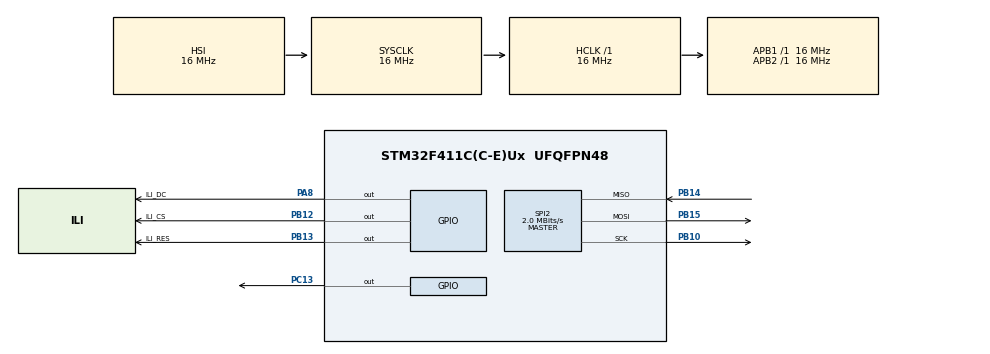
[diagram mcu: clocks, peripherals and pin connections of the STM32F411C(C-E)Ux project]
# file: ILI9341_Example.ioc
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Mcu.Family=STM32F4
Mcu.Name=STM32F411C(C-E)Ux
Mcu.Package=UFQFPN48
NVIC.PriorityGroup=NVIC_PRIORITYGROUP_4
PA13.Mode=Serial_Wire
PA13.Signal=SYS_JTMS-SWDIO
PA14.Mode=Serial_Wire
PA14.Signal=SYS_JTCK-SWCLK
PA8.GPIO_Label=ILI_DC
PA8.Signal=GPIO_Output
PB10.Mode=Full_Duplex_Master
PB10.Signal=SPI2_SCK
PB12.GPIO_Label=ILI_CS
PB12.PinState=GPIO_PIN_SET
PB12.Signal=GPIO_Output
PB13.GPIO_Label=ILI_RES
PB13.PinState=GPIO_PIN_SET
PB13.Signal=GPIO_Output
PB14.Mode=Full_Duplex_Master
PB14.Signal=SPI2_MISO
PB15.Mode=Full_Duplex_Master
PB15.Signal=SPI2_MOSI
PC13-ANTI_TAMP.Signal=GPIO_Output
PH0\ -\ OSC_IN.Mode=HSE-External-Oscillator
PH0\ -\ OSC_IN.Signal=RCC_OSC_IN
PH1\ -\ OSC_OUT.Mode=HSE-External-Oscillator
PH1\ -\ OSC_OUT.Signal=RCC_OSC_OUT
ProjectManager.HeapSize=0x200
ProjectManager.StackSize=0x400
ProjectManager.TargetToolchain=STM32CubeIDE
RCC.AHBFreq_Value=16000000
RCC.APB1Freq_Value=16000000
RCC.APB2Freq_Value=16000000
RCC.CortexFreq_Value=16000000
RCC.HSE_VALUE=25000000
RCC.HSI_VALUE=16000000
RCC.LSE_VALUE=32768
RCC.SYSCLKFreq_VALUE=16000000
RCC.VCOOutputFreq_Value=192000000
SPI2.BaudRatePrescaler=SPI_BAUDRATEPRESCALER_8
SPI2.CalculateBaudRate=2.0 MBits/s
SPI2.Direction=SPI_DIRECTION_2LINES
SPI2.Mode=SPI_MODE_MASTER
SPI2.VirtualType=VM_MASTER
board=custom

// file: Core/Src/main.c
/* USER CODE BEGIN Header */
/**
  ******************************************************************************
  * @file           : main.c
  * @brief          : Main program body
  ******************************************************************************
  * @attention
  *
  * Copyright (c) 2026 STMicroelectronics.
  * All rights reserved.
  *
  * This software is licensed under terms that can be found in the LICENSE file
  * in the root directory of this software component.
  * If no LICENSE file comes with this software, it is provided AS-IS.
  *
  ******************************************************************************
  */
/* USER CODE END Header */
#include "main.h"

/* USER CODE BEGIN Includes */
#include "ILI9341.h"
/* USER CODE END Includes */

/* USER CODE BEGIN PD */
/* Orientación de trabajo de la batería de pruebas (la rotación se restaura a esta) */
#define TEST_ORIENTATION  ILI9341_Orientation_Landscape_1
/* USER CODE END PD */

/* USER CODE BEGIN PM */
#define ILI_CHECK(x)  do { if ((x) != ILI9341_OK) { Error_Handler(); } } while (0)
/* Para los tests de error: la llamada debe devolver exactamente el estado esperado */
#define ILI_EXPECT(x, st)  do { if ((x) != (st)) { Error_Handler(); } } while (0)

/* USER CODE END PM */

SPI_HandleTypeDef hspi2;

/* USER CODE BEGIN PV */

ILI9341_Status_t status;

/* La librería no expone GetWidth/GetHeight: se lleva aquí la orientación activa
 * para conocer las dimensiones (240x320 en vertical, 320x240 en horizontal) */
static ILI9341_Orientation_t Test_Orientation = ILI9341_Orientation_Portrait_1;

/* USER CODE END PV */

void SystemClock_Config(void);
static void MX_GPIO_Init(void);
static void MX_SPI2_Init(void);
/* USER CODE BEGIN PFP */
static uint16_t Test_Width(void);
static uint16_t Test_Height(void);
static ILI9341_Status_t Test_Rotate(ILI9341_Orientation_t orientation);
static void ILI9341_TestSuite(void);
static void ILI9341_TestPreInit(void);
static void ILI9341_TestFonts(void);
static void ILI9341_TestPutc(void);
static void ILI9341_TestPrintf(void);
static void ILI9341_TestPixeles(void);
static void ILI9341_TestLineas(void);
static void ILI9341_TestLineasGruesas(void);
static void ILI9341_TestRectangulos(void);
static void ILI9341_TestTriangulos(void);
static void ILI9341_TestCirculos(void);
static void ILI9341_TestElipses(void);
static void ILI9341_TestArc(void);
static void ILI9341_TestColores(void);
static void ILI9341_TestRotacion(void);
static void ILI9341_TestErrores(void);
static void ILI9341_TestDeInit(void);
/* USER CODE END PFP */

int main(void)
{

  /* MCU Configuration--------------------------------------------------------*/

  /* Reset of all peripherals, Initializes the Flash interface and the Systick. */
  HAL_Init();

  /* Configure the system clock */
  SystemClock_Config();

  /* Initialize all configured peripherals */
  MX_GPIO_Init();
  MX_SPI2_Init();
  /* USER CODE BEGIN 2 */
  ILI9341_TestPreInit();

  /* El SPI2 queda a 2 Mbit/s (16 MHz / 8) como pide la librería; Init lo sube a /2 */
  status = ILI9341_Init(&hspi2,
		  	  	  	    ILI_CS_GPIO_Port, ILI_CS_Pin,
						ILI_RES_GPIO_Port, ILI_RES_Pin,
						ILI_DC_GPIO_Port, ILI_DC_Pin);
  if(status != ILI9341_OK)
  {
	  Error_Handler();
  }
  else
  {
	  HAL_GPIO_WritePin(GPIOC, GPIO_PIN_13, GPIO_PIN_RESET);
  }

  ILI_CHECK(Test_Rotate(TEST_ORIENTATION));
  /* USER CODE END 2 */

  /* Infinite loop */
  /* USER CODE BEGIN WHILE */
  while (1)
  {
	  ILI9341_TestSuite();
    /* USER CODE END WHILE */

  }
}

void SystemClock_Config(void)
{
  RCC_OscInitTypeDef RCC_OscInitStruct = {0};
  RCC_ClkInitTypeDef RCC_ClkInitStruct = {0};

  /** Configure the main internal regulator output voltage
  */
  __HAL_RCC_PWR_CLK_ENABLE();
  __HAL_PWR_VOLTAGESCALING_CONFIG(PWR_REGULATOR_VOLTAGE_SCALE1);

  /** Initializes the RCC Oscillators according to the specified parameters
  * in the RCC_OscInitTypeDef structure.
  */
  RCC_OscInitStruct.OscillatorType = RCC_OSCILLATORTYPE_HSI;
  RCC_OscInitStruct.HSIState = RCC_HSI_ON;
  RCC_OscInitStruct.HSICalibrationValue = RCC_HSICALIBRATION_DEFAULT;
  RCC_OscInitStruct.PLL.PLLState = RCC_PLL_NONE;
  if (HAL_RCC_OscConfig(&RCC_OscInitStruct) != HAL_OK)
  {
    Error_Handler();
  }

  /** Initializes the CPU, AHB and APB buses clocks
  */
  RCC_ClkInitStruct.ClockType = RCC_CLOCKTYPE_HCLK|RCC_CLOCKTYPE_SYSCLK
                              |RCC_CLOCKTYPE_PCLK1|RCC_CLOCKTYPE_PCLK2;
  RCC_ClkInitStruct.SYSCLKSource = RCC_SYSCLKSOURCE_HSI;
  RCC_ClkInitStruct.AHBCLKDivider = RCC_SYSCLK_DIV1;
  RCC_ClkInitStruct.APB1CLKDivider = RCC_HCLK_DIV1;
  RCC_ClkInitStruct.APB2CLKDivider = RCC_HCLK_DIV1;

  if (HAL_RCC_ClockConfig(&RCC_ClkInitStruct, FLASH_LATENCY_0) != HAL_OK)
  {
    Error_Handler();
  }
}

static void MX_SPI2_Init(void)
{

  /* SPI2 parameter configuration*/
  hspi2.Instance = SPI2;
  hspi2.Init.Mode = SPI_MODE_MASTER;
  hspi2.Init.Direction = SPI_DIRECTION_2LINES;
  hspi2.Init.DataSize = SPI_DATASIZE_8BIT;
  hspi2.Init.CLKPolarity = SPI_POLARITY_LOW;
  hspi2.Init.CLKPhase = SPI_PHASE_1EDGE;
  hspi2.Init.NSS = SPI_NSS_SOFT;
  hspi2.Init.BaudRatePrescaler = SPI_BAUDRATEPRESCALER_8;
  hspi2.Init.FirstBit = SPI_FIRSTBIT_MSB;
  hspi2.Init.TIMode = SPI_TIMODE_DISABLE;
  hspi2.Init.CRCCalculation = SPI_CRCCALCULATION_DISABLE;
  hspi2.Init.CRCPolynomial = 10;
  if (HAL_SPI_Init(&hspi2) != HAL_OK)
  {
    Error_Handler();
  }

}

static void MX_GPIO_Init(void)
{
  GPIO_InitTypeDef GPIO_InitStruct = {0};

  /* GPIO Ports Clock Enable */
  __HAL_RCC_GPIOC_CLK_ENABLE();
  __HAL_RCC_GPIOH_CLK_ENABLE();
  __HAL_RCC_GPIOB_CLK_ENABLE();
  __HAL_RCC_GPIOA_CLK_ENABLE();

  /*Configure GPIO pin Output Level */
  HAL_GPIO_WritePin(GPIOC, GPIO_PIN_13, GPIO_PIN_RESET);

  /*Configure GPIO pin Output Level */
  HAL_GPIO_WritePin(GPIOB, ILI_CS_Pin|ILI_RES_Pin, GPIO_PIN_SET);

  /*Configure GPIO pin Output Level */
  HAL_GPIO_WritePin(ILI_DC_GPIO_Port, ILI_DC_Pin, GPIO_PIN_RESET);

  /*Configure GPIO pin : PC13 */
  GPIO_InitStruct.Pin = GPIO_PIN_13;
  GPIO_InitStruct.Mode = GPIO_MODE_OUTPUT_PP;
  GPIO_InitStruct.Pull = GPIO_NOPULL;
  GPIO_InitStruct.Speed = GPIO_SPEED_FREQ_LOW;
  HAL_GPIO_Init(GPIOC, &GPIO_InitStruct);

  /*Configure GPIO pins : ILI_CS_Pin ILI_RES_Pin */
  GPIO_InitStruct.Pin = ILI_CS_Pin|ILI_RES_Pin;
  GPIO_InitStruct.Mode = GPIO_MODE_OUTPUT_PP;
  GPIO_InitStruct.Pull = GPIO_NOPULL;
  GPIO_InitStruct.Speed = GPIO_SPEED_FREQ_LOW;
  HAL_GPIO_Init(GPIOB, &GPIO_InitStruct);

  /*Configure GPIO pin : ILI_DC_Pin */
  GPIO_InitStruct.Pin = ILI_DC_Pin;
  GPIO_InitStruct.Mode = GPIO_MODE_OUTPUT_PP;
  GPIO_InitStruct.Pull = GPIO_NOPULL;
  GPIO_InitStruct.Speed = GPIO_SPEED_FREQ_LOW;
  HAL_GPIO_Init(ILI_DC_GPIO_Port, &GPIO_InitStruct);

}

/* USER CODE BEGIN 4 */

static uint16_t Test_Width(void)
{
	return (Test_Orientation >= ILI9341_Orientation_Landscape_1) ? ILI9341_HEIGHT : ILI9341_WIDTH;
}

static uint16_t Test_Height(void)
{
	return (Test_Orientation >= ILI9341_Orientation_Landscape_1) ? ILI9341_WIDTH : ILI9341_HEIGHT;
}

/* Rotate + registro de la orientación activa (solo si la librería la aceptó) */
static ILI9341_Status_t Test_Rotate(ILI9341_Orientation_t orientation)
{
	ILI9341_Status_t st = ILI9341_Rotate(orientation);

	if (st == ILI9341_OK)
	{
		Test_Orientation = orientation;
	}
	return st;
}

static void ILI9341_TestSuite(void)
{
	ILI9341_TestFonts();
	HAL_Delay(2000);

	ILI9341_TestPutc();
	HAL_Delay(2000);

	ILI9341_TestPrintf();
	HAL_Delay(2000);

	ILI9341_TestPixeles();
	HAL_Delay(2000);

	ILI9341_TestLineas();
	HAL_Delay(2000);

	ILI9341_TestLineasGruesas();
	HAL_Delay(2000);

	ILI9341_TestRectangulos();
	HAL_Delay(2000);

	ILI9341_TestTriangulos();
	HAL_Delay(2000);

	ILI9341_TestCirculos();
	HAL_Delay(2000);

	ILI9341_TestElipses();
	HAL_Delay(2000);

	ILI9341_TestArc();
	HAL_Delay(2000);

	ILI9341_TestColores();
	HAL_Delay(2000);

	ILI9341_TestRotacion();
	HAL_Delay(2000);

	ILI9341_TestErrores();
	HAL_Delay(2000);

	ILI9341_TestDeInit();
	HAL_Delay(2000);
}

static void ILI9341_TestPreInit(void)
{
	/* -- Antes de Init: todo debe devolver NOT_INITIALIZED sin tocar el bus -- */
	ILI_EXPECT(ILI9341_Fill(ILI9341_COLOR_WHITE), ILI9341_NOT_INITIALIZED);
	ILI_EXPECT(ILI9341_DrawPixel(0, 0, ILI9341_COLOR_WHITE), ILI9341_NOT_INITIALIZED);
	ILI_EXPECT(ILI9341_DrawFastHLine(0, 0, 10, ILI9341_COLOR_WHITE), ILI9341_NOT_INITIALIZED);
	ILI_EXPECT(ILI9341_DrawFilledRectangle(0, 0, 9, 9, ILI9341_COLOR_WHITE), ILI9341_NOT_INITIALIZED);
	ILI_EXPECT(ILI9341_Putc(0, 0, 'X', &LCD_Font_7x10, ILI9341_COLOR_WHITE, ILI9341_COLOR_BLACK), ILI9341_NOT_INITIALIZED);
	ILI_EXPECT(ILI9341_Rotate(ILI9341_Orientation_Portrait_1), ILI9341_NOT_INITIALIZED);
	ILI_EXPECT(ILI9341_TP_ConfigXPT2046(GPIOB, GPIO_PIN_0, NULL, 0), ILI9341_NOT_INITIALIZED);
	ILI_EXPECT(ILI9341_DeInit(), ILI9341_NOT_INITIALIZED);
	if (ILI9341_TP_GetState() != NULL)
	{
		Error_Handler();
	}
}

static void ILI9341_TestFonts(void)
{
	const uint16_t bg = ILI9341_COLOR_BLACK;
	uint16_t tw, th;

	/* -- Texto con las tres fuentes y colores distintos; '\n' baja FontHeight + 1 px y vuelve a x inicial -- */
	ILI_CHECK(ILI9341_Fill(bg));
	ILI_CHECK(ILI9341_Puts(0, 0, "ILI9341 TEST", &LCD_Font_16x26, ILI9341_COLOR_WHITE, bg));
	ILI_CHECK(ILI9341_Puts(0, 30, "Font 11x18", &LCD_Font_11x18, ILI9341_COLOR_YELLOW, bg));
	ILI_CHECK(ILI9341_Puts(0, 52, "Font 7x10", &LCD_Font_7x10, ILI9341_COLOR_CYAN, bg));
	ILI_CHECK(ILI9341_Puts(0, 66, "ABCDEFGHIJKLMNOPQRSTUVWXYZ\nabcdefghijklmnopqrstuvwxyz\n0123456789 !?#$%&()*+-=",
						   &LCD_Font_7x10, ILI9341_COLOR_WHITE, bg));

	/* Esquina inferior derecha: verifica GetStringSize y los bordes
	 * (GetStringSize cuenta todos los caracteres: solo sirve para cadenas de una línea) */
	ILI9341_GetStringSize("Fin", &LCD_Font_11x18, &tw, &th);
	ILI_CHECK(ILI9341_Puts(Test_Width() - tw, Test_Height() - th, "Fin",
						   &LCD_Font_11x18, ILI9341_COLOR_BLACK, ILI9341_COLOR_GREEN));
}

static void ILI9341_TestPutc(void)
{
	const uint16_t bg = ILI9341_COLOR_BLACK;
	const uint16_t w  = Test_Width();
	const uint16_t h  = Test_Height();
	LCD_FontDef_t* f  = &LCD_Font_11x18;

	/* -- Caracteres sueltos colocados a mano, avanzando FontWidth columnas -- */
	ILI_CHECK(ILI9341_Fill(bg));
	for (char c = 'A'; c <= 'J'; c++)
	{
		ILI_CHECK(ILI9341_Putc((uint16_t)(c - 'A') * f->FontWidth, 0, c, f, ILI9341_COLOR_WHITE, bg));
	}

	/* -- Salto automático: la celda no cabe a 3 px del borde derecho -> sale en x = 0, y = 30 + FontHeight -- */
	ILI_CHECK(ILI9341_Putc(w - 3, 30, 'W', f, ILI9341_COLOR_YELLOW, bg));

	/* -- Última celda que cabe, pegada a la esquina inferior derecha -- */
	ILI_CHECK(ILI9341_Putc(w - f->FontWidth, h - f->FontHeight, 'Z', f, ILI9341_COLOR_BLACK, ILI9341_COLOR_GREEN));

	/* -- No imprimibles: se ignoran y devuelven OK sin pintar (no debe verse ningún bloque rojo) -- */
	ILI_CHECK(ILI9341_Putc(0, 80, '\n', f, ILI9341_COLOR_RED, ILI9341_COLOR_RED));
	ILI_CHECK(ILI9341_Putc(0, 80, (char)127, f, ILI9341_COLOR_RED, ILI9341_COLOR_RED));

	/* -- Error: fuente NULL -- */
	ILI_EXPECT(ILI9341_Putc(0, 0, 'X', NULL, ILI9341_COLOR_RED, bg), ILI9341_INVALID_PARAM);
}

static void ILI9341_TestPrintf(void)
{
	const uint16_t bg = ILI9341_COLOR_BLACK;
	const uint16_t w  = Test_Width();
	const uint16_t h  = Test_Height();

	/* -- Alineación dentro de la región [0, w - 1] -- */
	ILI_CHECK(ILI9341_Fill(bg));
	ILI_CHECK(ILI9341_PutsAligned(0, w - 1, 0, ILI9341_ALIGN_LEFT, "Izquierda", &LCD_Font_11x18, ILI9341_COLOR_YELLOW, bg));
	ILI_CHECK(ILI9341_PutsAligned(0, w - 1, 22, ILI9341_ALIGN_CENTER, "Centro", &LCD_Font_11x18, ILI9341_COLOR_CYAN, bg));
	ILI_CHECK(ILI9341_PutsAligned(0, w - 1, 44, ILI9341_ALIGN_RIGHT, "Derecha", &LCD_Font_11x18, ILI9341_COLOR_GREEN, bg));

	/* -- Cadena más ancha que la región (9 x 7 = 63 px > 50 px): se alinea contra x0 aunque pida derecha -- */
	ILI_CHECK(ILI9341_PutsAligned(0, 49, 68, ILI9341_ALIGN_RIGHT, "Mas ancha", &LCD_Font_7x10, ILI9341_COLOR_WHITE, bg));

	/* -- PrintfAligned: formato + alineación en una sola llamada -- */
	ILI_CHECK(ILI9341_PrintfAligned(0, w - 1, 84, ILI9341_ALIGN_CENTER, &LCD_Font_7x10,
									ILI9341_COLOR_WHITE, bg, "%ux%u px  0x%04X", (unsigned)w, (unsigned)h, 0xBEEF));

	/* -- Printf: contador que se sobrescribe sin Fill (Puts pinta el fondo de cada celda) -- */
	for (uint8_t i = 0; i <= 9; i++)
	{
		ILI_CHECK(ILI9341_Printf(0, 110, &LCD_Font_16x26, ILI9341_COLOR_WHITE, bg, "Cuenta: %u", (unsigned)i));
		HAL_Delay(300);
	}
}

static void ILI9341_TestPixeles(void)
{
	const uint16_t w = Test_Width();
	const uint16_t h = Test_Height();

	/* -- Rejilla de puntos cada 8 px: blanca en la mitad izquierda, amarilla en la derecha -- */
	ILI_CHECK(ILI9341_Fill(ILI9341_COLOR_BLACK));
	for (uint16_t y = 0; y < h; y += 8)
	{
		for (uint16_t x = 0; x < w; x += 8)
		{
			ILI_CHECK(ILI9341_DrawPixel(x, y, (x < w / 2) ? ILI9341_COLOR_WHITE : ILI9341_COLOR_YELLOW));
		}
	}

	/* -- Un píxel rojo en cada esquina: deben verse los cuatro, pegados al borde.
	 *    DrawPixel no recorta ni valida: no se prueban coordenadas fuera de pantalla -- */
	ILI_CHECK(ILI9341_DrawPixel(0, 0, ILI9341_COLOR_RED));
	ILI_CHECK(ILI9341_DrawPixel(w - 1, 0, ILI9341_COLOR_RED));
	ILI_CHECK(ILI9341_DrawPixel(0, h - 1, ILI9341_COLOR_RED));
	ILI_CHECK(ILI9341_DrawPixel(w - 1, h - 1, ILI9341_COLOR_RED));
}

static void ILI9341_TestLineas(void)
{
	const uint16_t w = Test_Width();
	const uint16_t h = Test_Height();

	/* -- Lineas: marco, diagonales y ejes centrales (las coordenadas de rectángulo son esquinas inclusivas) -- */
	ILI_CHECK(ILI9341_Fill(ILI9341_COLOR_BLACK));
	ILI_CHECK(ILI9341_DrawRectangle(0, 0, w - 1, h - 1, ILI9341_COLOR_WHITE));
	ILI_CHECK(ILI9341_DrawLine(0, 0, w - 1, h - 1, ILI9341_COLOR_RED));
	ILI_CHECK(ILI9341_DrawLine(0, h - 1, w - 1, 0, ILI9341_COLOR_GREEN));
	ILI_CHECK(ILI9341_DrawFastHLine(0, h / 2, w, ILI9341_COLOR_BLUE));
	ILI_CHECK(ILI9341_DrawFastVLine(w / 2, 0, h, ILI9341_COLOR_YELLOW));

	/* -- Recorte: líneas rápidas que sobresalen 20 px por cada lado y con largo negativo (sin error) -- */
	ILI_CHECK(ILI9341_DrawFastHLine(-20, h / 4, w + 40, ILI9341_COLOR_CYAN));
	ILI_CHECK(ILI9341_DrawFastHLine(w - 1, 3 * h / 4, -(int16_t)w, ILI9341_COLOR_MAGENTA));
	ILI_CHECK(ILI9341_DrawFastVLine(w / 4, -20, h + 40, ILI9341_COLOR_CYAN));
	ILI_CHECK(ILI9341_DrawFastVLine(3 * w / 4, h - 1, -(int16_t)h, ILI9341_COLOR_MAGENTA));
}

static void ILI9341_TestLineasGruesas(void)
{
	const uint16_t w = Test_Width();
	const uint16_t h = Test_Height();
	static const uint16_t grosores[] = { 1, 3, 6, 9 };

	/* -- Horizontales con grosor 1, 3, 6 y 9 (0 y 1 equivalen a DrawLine), centradas en su y -- */
	ILI_CHECK(ILI9341_Fill(ILI9341_COLOR_BLACK));
	for (uint8_t i = 0; i < 4; i++)
	{
		ILI_CHECK(ILI9341_DrawThickLine(10, 15 + i * 25, w - 11, 15 + i * 25, grosores[i], ILI9341_COLOR_WHITE));
	}

	/* -- Vertical y diagonales con grosor 5 -- */
	ILI_CHECK(ILI9341_DrawThickLine(w / 2, 115, w / 2, h - 10, 5, ILI9341_COLOR_YELLOW));
	ILI_CHECK(ILI9341_DrawThickLine(10, h - 10, w / 2 - 20, 115, 5, ILI9341_COLOR_ORANGE));
	ILI_CHECK(ILI9341_DrawThickLine(w / 2 + 20, 115, w - 11, h - 10, 5, ILI9341_COLOR_CYAN));
}

static void ILI9341_TestRectangulos(void)
{
	const uint16_t w = Test_Width();
	const uint16_t h = Test_Height();
	const uint16_t q = w / 4;

	/* -- Rectangulos: contorno, relleno, redondeado y redondeado relleno (de izq. a der.).
	 *    El relleno va en dos mitades (rojo arriba, naranja abajo) que deben quedar
	 *    alineadas y sin hueco entre ellas -- */
	ILI_CHECK(ILI9341_Fill(ILI9341_COLOR_BLACK));
	ILI_CHECK(ILI9341_DrawRectangle(0, 0, q - 5, h - 1, ILI9341_COLOR_WHITE));
	ILI_CHECK(ILI9341_DrawFilledRectangle(q, 0, 2 * q - 5, h / 2 - 1, ILI9341_COLOR_RED));
	ILI_CHECK(ILI9341_DrawFilledRectangle(q, h / 2, 2 * q - 5, h - 1, ILI9341_COLOR_ORANGE));
	ILI_CHECK(ILI9341_DrawRoundRect(2 * q, 0, 3 * q - 5, h - 1, 15, ILI9341_COLOR_GREEN));
	ILI_CHECK(ILI9341_DrawFilledRoundRect(3 * q, 0, w - 1, h - 1, 15, ILI9341_COLOR_BLUE));
}

static void ILI9341_TestTriangulos(void)
{
	const uint16_t w = Test_Width();
	const uint16_t h = Test_Height();

	/* -- Triangulos: contorno a la izquierda, relleno a la derecha (vértices en los bordes) -- */
	ILI_CHECK(ILI9341_Fill(ILI9341_COLOR_BLACK));
	ILI_CHECK(ILI9341_DrawTriangle(w / 4, 0, 0, h - 1, w / 2 - 5, h - 1, ILI9341_COLOR_WHITE));
	ILI_CHECK(ILI9341_DrawFilledTriangle(w / 2 + 4, 0, w - 1, 0, 3 * w / 4, h - 1, ILI9341_COLOR_MAGENTA));
}

static void ILI9341_TestCirculos(void)
{
	const int16_t w = (int16_t)Test_Width();
	const int16_t h = (int16_t)Test_Height();
	/* El radio lo limita el lado corto para que funcione en cualquier orientación */
	const int16_t r = ((w < h) ? w : h) / 4 - 2;

	/* -- Circulos: contorno a la izquierda (toca el borde izq.), relleno a la derecha (toca el borde der.) -- */
	ILI_CHECK(ILI9341_Fill(ILI9341_COLOR_BLACK));
	ILI_CHECK(ILI9341_DrawCircle(r, h / 2, r, ILI9341_COLOR_WHITE));
	ILI_CHECK(ILI9341_DrawFilledCircle(w - 1 - r, h / 2, r, ILI9341_COLOR_ORANGE));

	/* -- Recorte: centros sobre el borde superior e inferior, solo se ve media circunferencia (sin error) -- */
	ILI_CHECK(ILI9341_DrawCircle(w / 2, 0, r, ILI9341_COLOR_CYAN));
	ILI_CHECK(ILI9341_DrawFilledCircle(w / 2, h - 1, r, ILI9341_COLOR_CYAN));
}

static void ILI9341_TestElipses(void)
{
	const int16_t w = (int16_t)Test_Width();
	const int16_t h = (int16_t)Test_Height();

	const int16_t rx = w / 4 - 3;
	const int16_t ry = h / 2 - 1;

	/* -- Elipses: contorno a la izquierda, relleno a la derecha (tocan bordes laterales, superior e inferior) -- */
	ILI_CHECK(ILI9341_Fill(ILI9341_COLOR_BLACK));
	ILI_CHECK(ILI9341_DrawEllipse(rx, h / 2, rx, ry, ILI9341_COLOR_WHITE));
	ILI_CHECK(ILI9341_DrawFilledEllipse(w - 1 - rx, h / 2, rx, ry, ILI9341_COLOR_CYAN));
}

static void ILI9341_TestArc(void)
{
	const int16_t w = (int16_t)Test_Width();
	const int16_t h = (int16_t)Test_Height();

	const int16_t r1 = ((w < h) ? w : h) / 2 - 2;
	const int16_t r2 = r1 / 2;

	/* -- Arcos: contorno a la izquierda (toca el borde izq.), relleno a la derecha (toca el borde der.) -- */
	ILI_CHECK(ILI9341_Fill(ILI9341_COLOR_BLACK));
	ILI_CHECK(ILI9341_DrawArc(r1, h / 2, r1, r2, 0.0f, 270.0f, ILI9341_COLOR_WHITE));
	ILI_CHECK(ILI9341_DrawFilledArc(w - 1 - r1, h / 2, r1, r2, 0.0f, 270.0f, ILI9341_COLOR_GREEN));
}

static void ILI9341_TestColores(void)
{
	static const uint16_t barras[] = {
		ILI9341_COLOR_RED, ILI9341_COLOR_LIME, ILI9341_COLOR_BLUE, ILI9341_COLOR_WHITE, ILI9341_COLOR_BLACK
	};
	const uint8_t  n  = sizeof(barras) / sizeof(barras[0]);
	const uint16_t w  = Test_Width();
	const uint16_t h  = Test_Height();
	const uint16_t bh = (h - h / 2) / 4;

	/* Color565 debe coincidir con la macro RGB565 */
	if (ILI9341_Color565(255, 128, 64) != RGB565(255, 128, 64))
	{
		Error_Handler();
	}

	/* -- Mitad superior: 5 barras rojo/verde/azul/blanco/negro. Si rojo y azul salen
	 *    intercambiados, el panel está en orden BGR -- */
	for (uint8_t i = 0; i < n; i++)
	{
		const uint16_t x0 = i * w / n;
		const uint16_t x1 = (i + 1) * w / n - 1;
		ILI_CHECK(ILI9341_DrawFilledRectangle(x0, 0, x1, h / 2 - 1, barras[i]));
	}

	/* -- Mitad inferior: degradados de rojo, verde, azul y gris con Color565 -- */
	for (uint16_t x = 0; x < w; x++)
	{
		const uint8_t v = (uint8_t)((uint32_t)x * 255U / (w - 1U));
		ILI_CHECK(ILI9341_DrawFastVLine(x, h / 2, bh, ILI9341_Color565(v, 0, 0)));
		ILI_CHECK(ILI9341_DrawFastVLine(x, h / 2 + bh, bh, ILI9341_Color565(0, v, 0)));
		ILI_CHECK(ILI9341_DrawFastVLine(x, h / 2 + 2 * bh, bh, ILI9341_Color565(0, 0, v)));
		ILI_CHECK(ILI9341_DrawFastVLine(x, h / 2 + 3 * bh, bh, ILI9341_Color565(v, v, v)));
	}
}

static void ILI9341_TestRotacion(void)
{
	static const ILI9341_Orientation_t orientaciones[] = {
		ILI9341_Orientation_Portrait_1,
		ILI9341_Orientation_Landscape_1,
		ILI9341_Orientation_Portrait_2,
		ILI9341_Orientation_Landscape_2,
	};
	static const char* const nombres[] = { "Portrait 1", "Landscape 1", "Portrait 2", "Landscape 2" };

	/* -- Rotación: marco pegado al borde y nombre arriba a la izquierda en cada orientación -- */
	for (uint8_t i = 0; i < 4; i++)
	{
		ILI_CHECK(Test_Rotate(orientaciones[i]));
		ILI_CHECK(ILI9341_Fill(ILI9341_COLOR_NAVY));
		ILI_CHECK(ILI9341_DrawRectangle(0, 0, Test_Width() - 1, Test_Height() - 1, ILI9341_COLOR_WHITE));
		ILI_CHECK(ILI9341_Puts(4, 4, (char*)nombres[i], &LCD_Font_11x18, ILI9341_COLOR_WHITE, ILI9341_COLOR_NAVY));
		ILI_CHECK(ILI9341_Printf(4, 26, &LCD_Font_7x10, ILI9341_COLOR_WHITE, ILI9341_COLOR_NAVY,
								 "%ux%u", (unsigned)Test_Width(), (unsigned)Test_Height()));
		HAL_Delay(1500);
	}

	/* Restaura la orientación de trabajo para el resto de los tests */
	ILI_CHECK(Test_Rotate(TEST_ORIENTATION));
}

static void ILI9341_TestErrores(void)
{
	/* -- Punteros NULL y región invertida (x1 < x0) -- */
	ILI_EXPECT(ILI9341_Puts(0, 0, NULL, &LCD_Font_7x10, ILI9341_COLOR_WHITE, ILI9341_COLOR_BLACK), ILI9341_INVALID_PARAM);
	ILI_EXPECT(ILI9341_Puts(0, 0, "X", NULL, ILI9341_COLOR_WHITE, ILI9341_COLOR_BLACK), ILI9341_INVALID_PARAM);
	ILI_EXPECT(ILI9341_Printf(0, 0, &LCD_Font_7x10, ILI9341_COLOR_WHITE, ILI9341_COLOR_BLACK, NULL), ILI9341_INVALID_PARAM);
	ILI_EXPECT(ILI9341_Printf(0, 0, NULL, ILI9341_COLOR_WHITE, ILI9341_COLOR_BLACK, "X"), ILI9341_INVALID_PARAM);
	ILI_EXPECT(ILI9341_PutsAligned(10, 5, 0, ILI9341_ALIGN_LEFT, "X", &LCD_Font_7x10, ILI9341_COLOR_WHITE, ILI9341_COLOR_BLACK), ILI9341_INVALID_PARAM);

	/* -- Init con parámetros inválidos: se rechaza antes de tocar el estado del driver -- */
	ILI_EXPECT(ILI9341_Init(NULL, ILI_CS_GPIO_Port, ILI_CS_Pin, ILI_RES_GPIO_Port, ILI_RES_Pin,
							ILI_DC_GPIO_Port, ILI_DC_Pin), ILI9341_INVALID_PARAM);
	ILI_EXPECT(ILI9341_Init(&hspi2, NULL, ILI_CS_Pin, ILI_RES_GPIO_Port, ILI_RES_Pin,
							ILI_DC_GPIO_Port, ILI_DC_Pin), ILI9341_INVALID_PARAM);

	/* -- Touch: sin configurar no hay estado, y el XPT2046 exige un puerto CS -- */
	if (ILI9341_TP_GetState() != NULL)
	{
		Error_Handler();
	}
	ILI_EXPECT(ILI9341_TP_ConfigXPT2046(NULL, 0, NULL, 0), ILI9341_INVALID_PARAM);

	/* Nada de lo anterior debe haber roto el driver: sigue dibujando */
	ILI_CHECK(ILI9341_Fill(ILI9341_COLOR_DARKCYAN));
	ILI_CHECK(ILI9341_Puts(4, 4, "Errores OK", &LCD_Font_11x18, ILI9341_COLOR_WHITE, ILI9341_COLOR_DARKCYAN));
}

static void ILI9341_TestDeInit(void)
{
	/* -- DeInit marca el driver como no inicializado (no apaga el panel, queda la última imagen):
	 *    las llamadas posteriores deben devolver NOT_INITIALIZED sin tocar el bus -- */
	ILI_CHECK(ILI9341_DeInit());
	ILI_EXPECT(ILI9341_DeInit(), ILI9341_NOT_INITIALIZED);
	ILI_EXPECT(ILI9341_Fill(ILI9341_COLOR_RED), ILI9341_NOT_INITIALIZED);
	ILI_EXPECT(ILI9341_DrawPixel(0, 0, ILI9341_COLOR_RED), ILI9341_NOT_INITIALIZED);
	ILI_EXPECT(ILI9341_Rotate(TEST_ORIENTATION), ILI9341_NOT_INITIALIZED);
	ILI_EXPECT(ILI9341_Puts(0, 0, "X", &LCD_Font_7x10, ILI9341_COLOR_RED, ILI9341_COLOR_RED), ILI9341_NOT_INITIALIZED);
	if (ILI9341_TP_GetState() != NULL)
	{
		Error_Handler();
	}
	HAL_Delay(1500);

	/* -- Re-Init: el SPI debe volver a 2 Mbit/s (el Init anterior lo subió a /2) y el
	 *    driver debe poder arrancar de nuevo. Init reinicia la geometría a vertical -- */
	hspi2.Init.BaudRatePrescaler = SPI_BAUDRATEPRESCALER_8;
	if (HAL_SPI_Init(&hspi2) != HAL_OK)
	{
		Error_Handler();
	}
	ILI_CHECK(ILI9341_Init(&hspi2,
						   ILI_CS_GPIO_Port, ILI_CS_Pin,
						   ILI_RES_GPIO_Port, ILI_RES_Pin,
						   ILI_DC_GPIO_Port, ILI_DC_Pin));
	Test_Orientation = ILI9341_Orientation_Portrait_1;
	ILI_CHECK(Test_Rotate(TEST_ORIENTATION));
	ILI_CHECK(ILI9341_Fill(ILI9341_COLOR_BLACK));
	ILI_CHECK(ILI9341_Puts(4, 4, "Re-Init OK", &LCD_Font_11x18, ILI9341_COLOR_GREEN, ILI9341_COLOR_BLACK));
}

/* USER CODE END 4 */

void Error_Handler(void)
{
  /* USER CODE BEGIN Error_Handler_Debug */
  /* User can add his own implementation to report the HAL error return state */
  while (1)
  {
	  HAL_GPIO_TogglePin(GPIOC, GPIO_PIN_13);
	  HAL_Delay(200);
  }
  /* USER CODE END Error_Handler_Debug */
}
